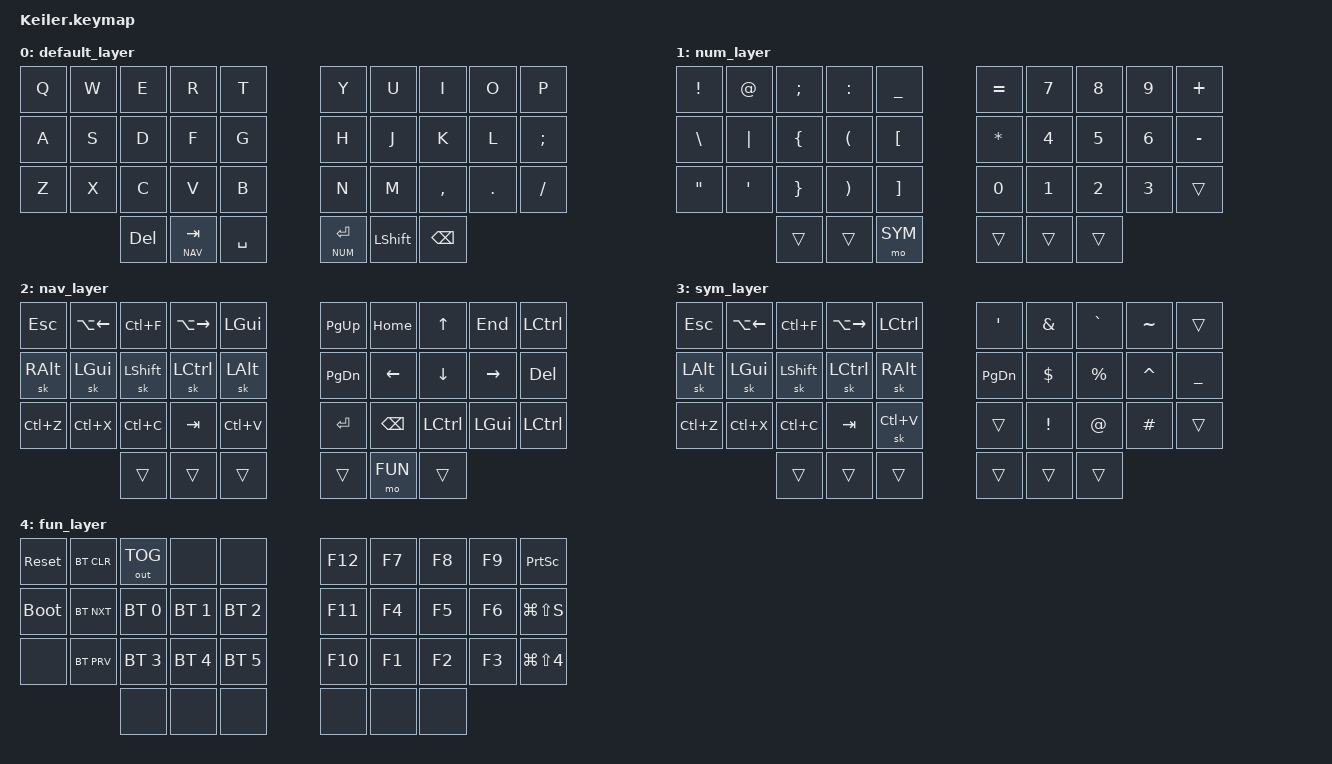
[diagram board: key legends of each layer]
//  ##  ##   ######    ####    ##       ######   #####   
//  ## ##    ##         ##     ##       ##       ##  ##  
//  ####     ##         ##     ##       ##       ##  ##  
//  ###      ####       ##     ##       ####     #####   
//  ####     ##         ##     ##       ##       ####    
//  ## ##    ##         ##     ##       ##       ## ##   
//  ##  ##   ######    ####    ######   ######   ##  ##  
                                                      


// Copyright (c) 2022 The ZMK Contributors
// SPDX-License-Identifier: MIT

#include <behaviors.dtsi>
#include <dt-bindings/zmk/keys.h>
#include <dt-bindings/zmk/bt.h>
#include <dt-bindings/zmk/outputs.h>

#define BASE 0
#define NUM  1
#define NAV  2
#define SYM  3
#define FUN  4


/ {
    
// ╭──────────────╮ ╭──────────────╮
// │ 0  1  2  3  4│ │ 5  6  7  8  9│
// │10 11 12 13 14│ │15 16 17 18 19│
// │20 21 22 23 24│ │25 26 27 28 29│
// ╰─────╮30 31 32│ │33 34 35╭─────╯
//       ╰────────╯ ╰────────╯

    combos {
        compatible = "zmk,combos";

        combo_caps {
            layers = <0>;
            timeout-ms = <75>;
            require-prior-idle-ms = <100>;
            key-positions = <14 15>;
            bindings = <&caps_word>;
        };
    };

     behaviors {
        ht: hold_tap {
            compatible = "zmk,behavior-hold-tap";
            #binding-cells = <2>;
            flavor = "tap-preferred";
            tapping-term-ms = <180>;
            require-prior-idle-ms = <150>;
            bindings = <&kp>, <&kp>;
        };

        lp: layer_press {
            compatible = "zmk,behavior-hold-tap";
            #binding-cells = <2>;
            flavor = "hold-preferred";
            tapping-term-ms = <200>;
            require-prior-idle-ms = <90>;
            // retro-tap;
            bindings = <&mo>, <&kp>;
        };

        mp: mod_press {
            compatible = "zmk,behavior-hold-tap";
            #binding-cells = <2>;
            flavor = "tap-preferred";
            tapping-term-ms = <200>;
            require-prior-idle-ms = <125>;
            bindings = <&kp>, <&kp>;
        };

        cs: ctrl_shift {
            compatible = "zmk,behavior-tap-dance";
            #binding-cells = <0>;
            tapping-term-ms = <200>;
            bindings = <&kp LCTRL>, <&kp LC(LSHFT)>;
        };
    }; 

    keymap {
        compatible = "zmk,keymap";
        default_layer {
            bindings = <
        //╭──────────┬──────────┬──────────┬──────────┬──────────╮          ╭──────────┬──────────┬──────────┬──────────┬──────────╮
        //│  Q       │  W       │  E       │  R       │  T       │          │  Y       │  U       │  I       │  O       │  P       │
            &kp Q      &kp W      &kp E      &kp R      &kp T                 &kp Y      &kp U      &kp I      &kp O      &kp P
        //├──────────┼──────────┼──────────┼──────────┼──────────┤          ├──────────┼──────────┼──────────┼──────────┼──────────┤
        //│  A       │  S       │  D       │  F       │  G       │          │  H       │  J       │  K       │  L       │   ;      │
           &kp A      &kp S      &kp D      &kp F      &kp G                 &kp H      &kp J      &kp K      &kp L      &kp SEMI 
        //├──────────┼──────────┼──────────┼──────────┼──────────┤          ├──────────┼──────────┼──────────┼──────────┼──────────┤
        //│  Z       │  X       │  C       │  V       │  B       │          │  N       │  M       │ , <      │ . >      │ / ?      │
            &kp Z      &kp X      &kp C      &kp V      &kp B                 &kp N      &kp M      &kp COMMA  &kp DOT    &kp FSLH
        //╰──────────┴──────────┴──────────┼──────────┼──────────┤          ├──────────┼──────────┼──────────┴──────────┴──────────╯
                                  &kp DEL   &lt NAV TAB &kp SPACE            &lt NUM RET &kp LSHFT   &kp BSPC
        //                      ╰──────────┴──────────┴──────────╯          ╰──────────┴──────────┴──────────╯
        >;
        };

        num_layer  {
            bindings = <
        //╭──────────┬──────────┬──────────┬──────────┬──────────╮          ╭──────────┬──────────┬──────────┬──────────┬──────────╮
        //│     !    │     @    │     ;    │    :     │     _    │          │    =     │    7     │    8     │    9     │    +     │
            &kp EXCL   &kp AT     &kp SEMI  &kp COLON  &kp UNDER             &kp EQUAL   &kp N7      &kp N8    &kp N9    &kp PLUS
        //├──────────┼──────────┼──────────┼──────────┼──────────┤          ├──────────┼──────────┼──────────┼──────────┼──────────┤
        //│    \     │     |    │     {    │    (     │     [    │          │    *     │    4     │    5     │    6     │    -     │
            &kp BSLH  &kp PIPE   &kp LBRC   &kp LPAR    &kp LBKT              &kp ASTRK   &kp N4    &kp N5     &kp N6     &kp MINUS
        //├──────────┼──────────┼──────────┼──────────┼──────────┤          ├──────────┼──────────┼──────────┼──────────┼──────────┤
        //│     "    │     '    │     }    │     )    │     ]    │          │    0     │    1     │    2     │    3     │    /     │
            &kp DQT    &kp SQT   &kp RBRC   &kp RPAR    &kp RBKT              &kp N0     &kp N1     &kp N2      &kp N3     &trans
        //╰──────────┴──────────┴──────────┼──────────┼──────────┤          ├──────────┼──────────┼──────────┴──────────┴──────────╯
        //                      │          │          │          │          │          │          │          │ 
                                  &trans      &trans    &mo SYM              &trans      &trans    &trans
        //                      ╰──────────┴──────────┴──────────╯          ╰──────────┴──────────┴──────────╯
            >;
        };

        nav_layer {
            bindings = <
        //╭──────────┬──────────┬──────────┬──────────┬──────────╮          ╭──────────┬──────────┬──────────┬──────────┬──────────╮
        //│          │          │          │          │          │          │          │          │          │          │          │
           &kp ESC  &kp LA(LEFT) &kp LC(F) &kp LA(RIGHT) &kp LGUI            &kp PG_UP    &kp HOME    &kp UP    &kp END   &kp LCTRL
        //├──────────┼──────────┼──────────┼──────────┼──────────┤          ├──────────┼──────────┼──────────┼──────────┼──────────┤
        //│          │          │          │          │          │          │          │          │          │          │          │
           &sk RALT   &sk LGUI  &sk LSHFT  &sk LCTRL   &sk LALT             &kp PG_DN  &kp LEFT   &kp DOWN    &kp RIGHT  &kp DEL
        //├──────────┼──────────┼──────────┼──────────┼──────────┤          ├──────────┼──────────┼──────────┼──────────┼──────────┤
        //│          │          │          │          │          │          │          │          │          │          │          │
           &kp LC(Z)   &kp LC(X)  &kp LC(C)  &kp TAB    &kp LC(V)             &kp RET    &kp BSPC   &kp LCTRL  &kp LGUI   &kp LCTRL
        //╰──────────┴──────────┴──────────┼──────────┼──────────┤          ├──────────┼──────────┼──────────┴──────────┴──────────╯
                                  &trans     &trans    &trans                 &trans    &mo FUN    &trans
        //                      ╰──────────┴──────────┴──────────╯          ╰──────────┴──────────┴──────────╯
            >;
        };

        sym_layer {
            bindings = <
        //╭──────────┬──────────┬──────────┬──────────┬──────────╮          ╭──────────┬──────────┬──────────┬──────────┬──────────╮
        //│          │          │          │          │          │          │     '    │     &    │     `    │     ~    │          │
           &kp ESC    &kp LA(LEFT) &kp LC(F) &kp LA(RIGHT) &kp LCTRL          &kp SQT   &kp AMPS   &kp GRAVE  &kp TILDE   &trans
        //├──────────┼──────────┼──────────┼──────────┼──────────┤          ├──────────┼──────────┼──────────┼──────────┼──────────┤
        //│          │          │          │          │          │          │          │    $     │    %     │     ^    │    _     │
           &sk LALT   &sk LGUI  &sk LSHFT   &sk LCTRL   &sk RALT            &kp PG_DN   &kp DOLLAR  &kp PRCNT &kp CARET  &kp UNDER
        //├──────────┼──────────┼──────────┼──────────┼──────────┤          ├──────────┼──────────┼──────────┼──────────┼──────────┤
        //│          │          │          │          │          │          │          │     !    │   @      │     #    │     /    │
           &kp LC(Z)  &kp LC(X)  &kp LC(C)  &kp TAB    &sk LC(V)             &trans      &kp EXCL  &kp AT_SIGN &kp POUND   &trans
        //╰──────────┴──────────┴──────────┼──────────┼──────────┤          ├──────────┼──────────┼──────────┴──────────┴──────────╯
                                  &trans     &trans     &trans                &trans      &trans      &trans
        //                      ╰──────────┴──────────┴──────────╯          ╰──────────┴──────────┴──────────╯
            >;
        };

        fun_layer {
            bindings = <
        //╭──────────┬──────────┬──────────┬──────────┬──────────╮          ╭──────────┬──────────┬──────────┬──────────┬──────────╮
        //│          │          │          │          │          │          │    F12   │    F7    │   F8     │    F9    │          │
          &sys_reset &bt BT_CLR &out OUT_TOG  &none      &none               &kp F12     &kp F7     &kp F8     &kp F9     &kp PSCRN
        //├──────────┼──────────┼──────────┼──────────┼──────────┤          ├──────────┼──────────┼──────────┼──────────┼──────────┤
        //│          │          │          │          │          │          │   F11    │    F4    │    F5    │    F6    │ crop win │
          &bootloader &bt BT_NXT &bt BT_SEL 0 &bt BT_SEL 1 &bt BT_SEL 2       &kp F11   &kp F4     &kp F5     &kp F6    &kp LG(LS(S))
        //├──────────┼──────────┼──────────┼──────────┼──────────┤          ├──────────┼──────────┼──────────┼──────────┼──────────┤
        //│          │          │          │          │          │          │   F10    │    F1    │     F2   │    F3    │ mac crop │
          &none      &bt BT_PRV  &bt BT_SEL 3 &bt BT_SEL 4 &bt BT_SEL 5      &kp F10     &kp F1     &kp F2    &kp F3    &kp LG(LS(N4))
        //╰──────────┴──────────┴──────────┼──────────┼──────────┤          ├──────────┼──────────┼──────────┴──────────┴──────────╯
                                  &none       &none      &none                   &none      &none      &none
        //                      ╰──────────┴──────────┴──────────╯          ╰──────────┴──────────┴──────────╯
            >;
        };

    };
};
